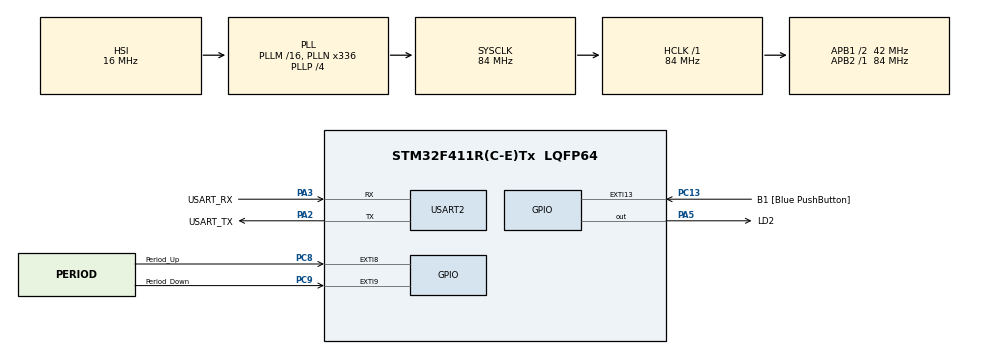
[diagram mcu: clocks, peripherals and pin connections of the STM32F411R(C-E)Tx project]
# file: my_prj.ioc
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Mcu.Family=STM32F4
Mcu.Name=STM32F411R(C-E)Tx
Mcu.Package=LQFP64
NVIC.EXTI15_10_IRQn=true\:0\:0\:false\:false\:true\:true\:true\:true
NVIC.EXTI9_5_IRQn=true\:0\:0\:false\:false\:true\:true\:true\:true
NVIC.PriorityGroup=NVIC_PRIORITYGROUP_0
NVIC.TIM3_IRQn=true\:0\:0\:false\:false\:true\:true\:true\:true
PA13.GPIO_Label=TMS
PA13.Mode=Serial_Wire
PA13.Signal=SYS_JTMS-SWDIO
PA14.GPIO_Label=TCK
PA14.Mode=Serial_Wire
PA14.Signal=SYS_JTCK-SWCLK
PA2.GPIO_Label=USART_TX
PA2.Mode=Asynchronous
PA2.Signal=USART2_TX
PA3.GPIO_Label=USART_RX
PA3.Mode=Asynchronous
PA3.Signal=USART2_RX
PA5.GPIO_Label=LD2
PA5.Signal=GPIO_Output
PB3.GPIO_Label=SWO
PB3.Signal=SYS_JTDO-SWO
PC13-ANTI_TAMP.GPIO_Label=B1 [Blue PushButton]
PC13-ANTI_TAMP.GPIO_ModeDefaultEXTI=GPIO_MODE_IT_FALLING
PC13-ANTI_TAMP.Signal=GPXTI13
PC14-OSC32_IN.Mode=LSE-External-Oscillator
PC14-OSC32_IN.Signal=RCC_OSC32_IN
PC15-OSC32_OUT.Mode=LSE-External-Oscillator
PC15-OSC32_OUT.Signal=RCC_OSC32_OUT
PC8.GPIO_Label=Period_Up
PC8.GPIO_ModeDefaultEXTI=GPIO_MODE_IT_FALLING
PC8.GPIO_PuPd=GPIO_PULLUP
PC8.Signal=GPXTI8
PC9.GPIO_Label=Period_Down
PC9.GPIO_ModeDefaultEXTI=GPIO_MODE_IT_FALLING
PC9.GPIO_PuPd=GPIO_PULLUP
PC9.Signal=GPXTI9
PH0\ -\ OSC_IN.Mode=HSE-External-Clock-Source
PH0\ -\ OSC_IN.Signal=RCC_OSC_IN
PH1\ -\ OSC_OUT.Mode=HSE-External-Clock-Source
PH1\ -\ OSC_OUT.Signal=RCC_OSC_OUT
ProjectManager.HeapSize=0x200
ProjectManager.StackSize=0x400
ProjectManager.TargetToolchain=STM32CubeIDE
RCC.48MHZClocksFreq_Value=84000000
RCC.AHBFreq_Value=84000000
RCC.APB1CLKDivider=RCC_HCLK_DIV2
RCC.APB1Freq_Value=42000000
RCC.APB1TimFreq_Value=84000000
RCC.APB2Freq_Value=84000000
RCC.APB2TimFreq_Value=84000000
RCC.CortexFreq_Value=84000000
RCC.FLatency-AdvancedSettings=FLASH_LATENCY_2
RCC.HCLKFreq_Value=84000000
RCC.HSE_VALUE=8000000
RCC.HSI_VALUE=16000000
RCC.PLLN=336
RCC.PLLP=RCC_PLLP_DIV4
RCC.SYSCLKFreq_VALUE=84000000
RCC.SYSCLKSource=RCC_SYSCLKSOURCE_PLLCLK
RCC.VCOOutputFreq_Value=336000000
TIM3.AutoReloadPreload=TIM_AUTORELOAD_PRELOAD_DISABLE
TIM3.ClockDivision=TIM_CLOCKDIVISION_DIV1
TIM3.Period=8400 - 1
TIM3.Prescaler=10000 - 1
USART2.VirtualMode=VM_ASYNC
VP_TIM3_VS_ClockSourceINT.Mode=Internal
board=NUCLEO-F411RE

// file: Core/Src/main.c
/* USER CODE BEGIN Header */
/**
  ******************************************************************************
  * @file           : main.c
  * @brief          : Main program body
  ******************************************************************************
  * @attention
  *
  * Copyright (c) 2024 STMicroelectronics.
  * All rights reserved.
  *
  * This software is licensed under terms that can be found in the LICENSE file
  * in the root directory of this software component.
  * If no LICENSE file comes with this software, it is provided AS-IS.
  *
  ******************************************************************************
  */
/* USER CODE END Header */
#include "main.h"

/* USER CODE BEGIN Includes */
#include <stdio.h>

/* USER CODE END Includes */

TIM_HandleTypeDef htim3;

UART_HandleTypeDef huart2;

void SystemClock_Config(void);
static void MX_GPIO_Init(void);
static void MX_USART2_UART_Init(void);
static void MX_TIM3_Init(void);

/* USER CODE BEGIN 0 */
//void HAL_TIM_PeriodeElapsedCallback(TIM_HandleTypeDef *htim)
//{
//	HAL_GPIO_TogglePin(LD2_GPIO_Port, LD2_Pin);
//}
int mode = 0;

int ival = 1000;

void StandBy(){
	while(HAL_GPIO_ReadPin(B1_GPIO_Port, B1_Pin)); // Wait until B1 == 0 (Press Btn)
}
__weak void HAL_GPIO_EXTI_Callback(uint16_t GPIO_Pin) // External Interrupt ISR
{
	switch(GPIO_Pin){
	case B1_Pin :
		mode=mode?0:1;
		break;
	case Period_Down_Pin:
		ival = (ival <= 200)? 1000 : ival - 200;
		break;
	case Period_Up_Pin:
		ival = (ival >= 1000)? 200 : ival + 200;
		 break;
	}
}
/* USER CODE END 0 */

int main(void)
{

  /* MCU Configuration--------------------------------------------------------*/

  /* Reset of all peripherals, Initializes the Flash interface and the Systick. */
  HAL_Init();

  /* Configure the system clock */
  SystemClock_Config();

  /* Initialize all configured peripherals */
  MX_GPIO_Init();
  MX_USART2_UART_Init();
  MX_TIM3_Init();
  /* USER CODE BEGIN 2 */
//  HAL_TIM_Base_Start_IT(&htim3);
 // StandBy();
  /* USER CODE END 2 */

  /* Infinite loop */
  while (1)
  {

    /* USER CODE BEGIN 3 */
	  if(mode){
		  HAL_GPIO_WritePin(LD2_GPIO_Port, LD2_Pin, 1);
		  HAL_Delay(ival); // mill second
		  HAL_GPIO_WritePin(LD2_GPIO_Port, LD2_Pin, 0);
		  HAL_Delay(ival); // mill second
	  }

  }
  /* USER CODE END 3 */
}

void SystemClock_Config(void)
{
  RCC_OscInitTypeDef RCC_OscInitStruct = {0};
  RCC_ClkInitTypeDef RCC_ClkInitStruct = {0};

  /** Configure the main internal regulator output voltage
  */
  __HAL_RCC_PWR_CLK_ENABLE();
  __HAL_PWR_VOLTAGESCALING_CONFIG(PWR_REGULATOR_VOLTAGE_SCALE1);

  /** Initializes the RCC Oscillators according to the specified parameters
  * in the RCC_OscInitTypeDef structure.
  */
  RCC_OscInitStruct.OscillatorType = RCC_OSCILLATORTYPE_HSI;
  RCC_OscInitStruct.HSIState = RCC_HSI_ON;
  RCC_OscInitStruct.HSICalibrationValue = RCC_HSICALIBRATION_DEFAULT;
  RCC_OscInitStruct.PLL.PLLState = RCC_PLL_ON;
  RCC_OscInitStruct.PLL.PLLSource = RCC_PLLSOURCE_HSI;
  RCC_OscInitStruct.PLL.PLLM = 16;
  RCC_OscInitStruct.PLL.PLLN = 336;
  RCC_OscInitStruct.PLL.PLLP = RCC_PLLP_DIV4;
  RCC_OscInitStruct.PLL.PLLQ = 4;
  if (HAL_RCC_OscConfig(&RCC_OscInitStruct) != HAL_OK)
  {
    Error_Handler();
  }

  /** Initializes the CPU, AHB and APB buses clocks
  */
  RCC_ClkInitStruct.ClockType = RCC_CLOCKTYPE_HCLK|RCC_CLOCKTYPE_SYSCLK
                              |RCC_CLOCKTYPE_PCLK1|RCC_CLOCKTYPE_PCLK2;
  RCC_ClkInitStruct.SYSCLKSource = RCC_SYSCLKSOURCE_PLLCLK;
  RCC_ClkInitStruct.AHBCLKDivider = RCC_SYSCLK_DIV1;
  RCC_ClkInitStruct.APB1CLKDivider = RCC_HCLK_DIV2;
  RCC_ClkInitStruct.APB2CLKDivider = RCC_HCLK_DIV1;

  if (HAL_RCC_ClockConfig(&RCC_ClkInitStruct, FLASH_LATENCY_2) != HAL_OK)
  {
    Error_Handler();
  }
}

static void MX_TIM3_Init(void)
{

  TIM_ClockConfigTypeDef sClockSourceConfig = {0};
  TIM_MasterConfigTypeDef sMasterConfig = {0};

  htim3.Instance = TIM3;
  htim3.Init.Prescaler = 10000 - 1;
  htim3.Init.CounterMode = TIM_COUNTERMODE_UP;
  htim3.Init.Period = 8400 - 1;
  htim3.Init.ClockDivision = TIM_CLOCKDIVISION_DIV1;
  htim3.Init.AutoReloadPreload = TIM_AUTORELOAD_PRELOAD_DISABLE;
  if (HAL_TIM_Base_Init(&htim3) != HAL_OK)
  {
    Error_Handler();
  }
  sClockSourceConfig.ClockSource = TIM_CLOCKSOURCE_INTERNAL;
  if (HAL_TIM_ConfigClockSource(&htim3, &sClockSourceConfig) != HAL_OK)
  {
    Error_Handler();
  }
  sMasterConfig.MasterOutputTrigger = TIM_TRGO_RESET;
  sMasterConfig.MasterSlaveMode = TIM_MASTERSLAVEMODE_DISABLE;
  if (HAL_TIMEx_MasterConfigSynchronization(&htim3, &sMasterConfig) != HAL_OK)
  {
    Error_Handler();
  }

}

static void MX_USART2_UART_Init(void)
{

  huart2.Instance = USART2;
  huart2.Init.BaudRate = 115200;
  huart2.Init.WordLength = UART_WORDLENGTH_8B;
  huart2.Init.StopBits = UART_STOPBITS_1;
  huart2.Init.Parity = UART_PARITY_NONE;
  huart2.Init.Mode = UART_MODE_TX_RX;
  huart2.Init.HwFlowCtl = UART_HWCONTROL_NONE;
  huart2.Init.OverSampling = UART_OVERSAMPLING_16;
  if (HAL_UART_Init(&huart2) != HAL_OK)
  {
    Error_Handler();
  }

}

static void MX_GPIO_Init(void)
{
  GPIO_InitTypeDef GPIO_InitStruct = {0};

  /* GPIO Ports Clock Enable */
  __HAL_RCC_GPIOC_CLK_ENABLE();
  __HAL_RCC_GPIOH_CLK_ENABLE();
  __HAL_RCC_GPIOA_CLK_ENABLE();
  __HAL_RCC_GPIOB_CLK_ENABLE();

  /*Configure GPIO pin Output Level */
  HAL_GPIO_WritePin(LD2_GPIO_Port, LD2_Pin, GPIO_PIN_RESET);

  /*Configure GPIO pin : B1_Pin */
  GPIO_InitStruct.Pin = B1_Pin;
  GPIO_InitStruct.Mode = GPIO_MODE_IT_FALLING;
  GPIO_InitStruct.Pull = GPIO_NOPULL;
  HAL_GPIO_Init(B1_GPIO_Port, &GPIO_InitStruct);

  /*Configure GPIO pin : LD2_Pin */
  GPIO_InitStruct.Pin = LD2_Pin;
  GPIO_InitStruct.Mode = GPIO_MODE_OUTPUT_PP;
  GPIO_InitStruct.Pull = GPIO_NOPULL;
  GPIO_InitStruct.Speed = GPIO_SPEED_FREQ_LOW;
  HAL_GPIO_Init(LD2_GPIO_Port, &GPIO_InitStruct);

  /*Configure GPIO pins : Period_Up_Pin Period_Down_Pin */
  GPIO_InitStruct.Pin = Period_Up_Pin|Period_Down_Pin;
  GPIO_InitStruct.Mode = GPIO_MODE_IT_FALLING;
  GPIO_InitStruct.Pull = GPIO_PULLUP;
  HAL_GPIO_Init(GPIOC, &GPIO_InitStruct);

  /* EXTI interrupt init*/
  HAL_NVIC_SetPriority(EXTI9_5_IRQn, 0, 0);
  HAL_NVIC_EnableIRQ(EXTI9_5_IRQn);

  HAL_NVIC_SetPriority(EXTI15_10_IRQn, 0, 0);
  HAL_NVIC_EnableIRQ(EXTI15_10_IRQn);

}

void Error_Handler(void)
{
  __disable_irq();
  while (1)
  {
  }
}
